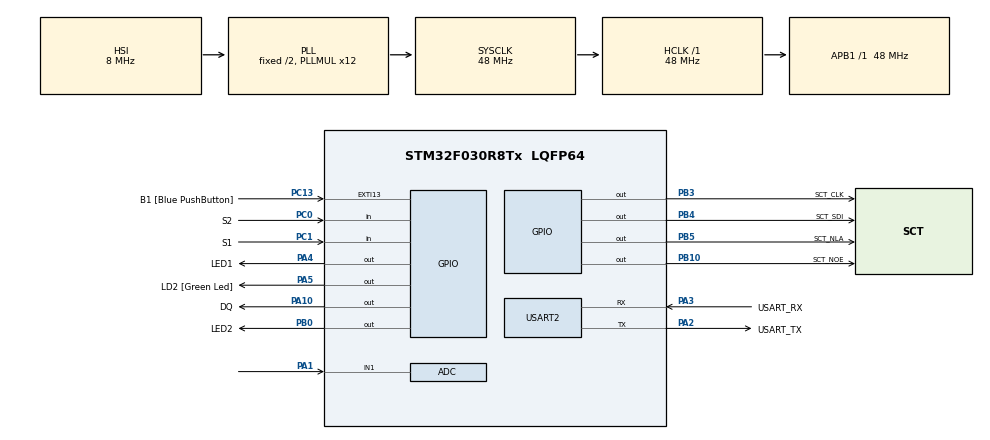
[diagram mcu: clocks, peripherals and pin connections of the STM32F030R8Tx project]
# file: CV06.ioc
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ADC.ContinuousConvMode=ENABLE
ADC.SamplingTime=ADC_SAMPLETIME_71CYCLES_5
Mcu.Family=STM32F0
Mcu.Name=STM32F030R8Tx
Mcu.Package=LQFP64
PA1.Mode=IN1
PA1.Signal=ADC_IN1
PA10.GPIO_Label=DQ
PA10.GPIO_ModeDefaultOutputPP=GPIO_MODE_OUTPUT_OD
PA10.GPIO_PuPd=GPIO_NOPULL
PA10.PinState=GPIO_PIN_SET
PA10.Signal=GPIO_Output
PA13.GPIO_Label=TMS
PA13.Mode=Serial_Wire
PA13.Signal=SYS_SWDIO
PA14.GPIO_Label=TCK
PA14.Mode=Serial_Wire
PA14.Signal=SYS_SWCLK
PA2.GPIO_Label=USART_TX
PA2.GPIO_Mode=GPIO_MODE_AF_PP
PA2.GPIO_PuPd=GPIO_NOPULL
PA2.GPIO_Speed=GPIO_SPEED_FREQ_LOW
PA2.Mode=Asynchronous
PA2.Signal=USART2_TX
PA3.GPIO_Label=USART_RX
PA3.GPIO_Mode=GPIO_MODE_AF_PP
PA3.GPIO_PuPd=GPIO_NOPULL
PA3.GPIO_Speed=GPIO_SPEED_FREQ_LOW
PA3.Mode=Asynchronous
PA3.Signal=USART2_RX
PA4.GPIO_Label=LED1
PA4.Signal=GPIO_Output
PA5.GPIO_Label=LD2 [Green Led]
PA5.GPIO_Mode=GPIO_MODE_OUTPUT_PP
PA5.GPIO_PuPd=GPIO_NOPULL
PA5.GPIO_Speed=GPIO_SPEED_FREQ_LOW
PA5.Signal=GPIO_Output
PB0.GPIO_Label=LED2
PB0.Signal=GPIO_Output
PB10.GPIO_Label=SCT_NOE
PB10.Signal=GPIO_Output
PB3.GPIO_Label=SCT_CLK
PB3.Signal=GPIO_Output
PB4.GPIO_Label=SCT_SDI
PB4.Signal=GPIO_Output
PB5.GPIO_Label=SCT_NLA
PB5.Signal=GPIO_Output
PC0.GPIO_Label=S2
PC0.GPIO_PuPd=GPIO_PULLUP
PC0.Signal=GPIO_Input
PC1.GPIO_Label=S1
PC1.GPIO_PuPd=GPIO_PULLUP
PC1.Signal=GPIO_Input
PC13.GPIO_Label=B1 [Blue PushButton]
PC13.GPIO_ModeDefaultEXTI=GPIO_MODE_IT_FALLING
PC13.Signal=GPXTI13
PC14-OSC32_IN.Mode=LSE-External-Oscillator
PC14-OSC32_IN.Signal=RCC_OSC32_IN
PC15-OSC32_OUT.Mode=LSE-External-Oscillator
PC15-OSC32_OUT.Signal=RCC_OSC32_OUT
PF0-OSC_IN.Mode=HSE-External-Clock-Source
PF0-OSC_IN.Signal=RCC_OSC_IN
PF1-OSC_OUT.Signal=RCC_OSC_OUT
ProjectManager.HeapSize=0x200
ProjectManager.StackSize=0x400
ProjectManager.TargetToolchain=STM32CubeIDE
RCC.AHBFreq_Value=48000000
RCC.APB1Freq_Value=48000000
RCC.APB1TimFreq_Value=48000000
RCC.HCLKFreq_Value=48000000
RCC.PLLMUL=RCC_PLL_MUL12
RCC.SYSCLKFreq_VALUE=48000000
RCC.SYSCLKSource=RCC_SYSCLKSOURCE_PLLCLK
USART2.VirtualMode-Asynchronous=VM_ASYNC
VP_TIM17_VS_ClockSourceINT.Mode=Enable_Timer
board=NUCLEO-F030R8

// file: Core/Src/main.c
/* USER CODE BEGIN Header */
/**
  ******************************************************************************
  * @file           : main.c
  * @brief          : Main program body
  ******************************************************************************
  * @attention
  *
  * Copyright (c) 2024 STMicroelectronics.
  * All rights reserved.
  *
  * This software is licensed under terms that can be found in the LICENSE file
  * in the root directory of this software component.
  * If no LICENSE file comes with this software, it is provided AS-IS.
  *
  ******************************************************************************
  */
/* USER CODE END Header */
#include "main.h"

/* USER CODE BEGIN Includes */
#include "1wire.h"
#include "sct.h"
#include "tempSensors.h"
/* USER CODE END Includes */

ADC_HandleTypeDef hadc;

TIM_HandleTypeDef htim17;

UART_HandleTypeDef huart2;

void SystemClock_Config(void);
static void MX_GPIO_Init(void);
static void MX_USART2_UART_Init(void);
static void MX_ADC_Init(void);
static void MX_TIM17_Init(void);

int main(void)
{

  /* MCU Configuration--------------------------------------------------------*/

  /* Reset of all peripherals, Initializes the Flash interface and the Systick. */
  HAL_Init();

  /* Configure the system clock */
  SystemClock_Config();

  /* Initialize all configured peripherals */
  MX_GPIO_Init();
  MX_USART2_UART_Init();
  MX_ADC_Init();
  MX_TIM17_Init();
  /* USER CODE BEGIN 2 */
  OWInit();
  sct_init();
  HAL_ADCEx_Calibration_Start(&hadc);
  HAL_ADC_Start(&hadc);
  /* USER CODE END 2 */

  /* Infinite loop */
  /* USER CODE BEGIN WHILE */
  while (1)
  {
	  static enum {DALLAS, NTC} state;

	  int16_t temperature;
	  processDallas();
	  processNTC();

	  if(!HAL_GPIO_ReadPin(S1_GPIO_Port, S1_Pin))
	  {
		  state = DALLAS;

	  }
	  else if(!HAL_GPIO_ReadPin(S2_GPIO_Port, S2_Pin))
	  {
		  state = NTC;
	  }

	  switch(state)
	  {
		case DALLAS:
			getDallasTemp(&temperature);
			HAL_GPIO_WritePin(LED2_GPIO_Port, LED2_Pin, GPIO_PIN_SET);
			HAL_GPIO_WritePin(LED1_GPIO_Port, LED1_Pin, GPIO_PIN_RESET);
			break;
		case NTC:
			getNTCTemp(&temperature);
			HAL_GPIO_WritePin(LED1_GPIO_Port, LED1_Pin, GPIO_PIN_SET);
			HAL_GPIO_WritePin(LED2_GPIO_Port, LED2_Pin, GPIO_PIN_RESET);
			break;

		}

	  sct_value(temperature, 0, 2);

    /* USER CODE END WHILE */

  }
}

void SystemClock_Config(void)
{
  RCC_OscInitTypeDef RCC_OscInitStruct = {0};
  RCC_ClkInitTypeDef RCC_ClkInitStruct = {0};

  /** Initializes the RCC Oscillators according to the specified parameters
  * in the RCC_OscInitTypeDef structure.
  */
  RCC_OscInitStruct.OscillatorType = RCC_OSCILLATORTYPE_HSI|RCC_OSCILLATORTYPE_HSI14;
  RCC_OscInitStruct.HSIState = RCC_HSI_ON;
  RCC_OscInitStruct.HSI14State = RCC_HSI14_ON;
  RCC_OscInitStruct.HSICalibrationValue = RCC_HSICALIBRATION_DEFAULT;
  RCC_OscInitStruct.HSI14CalibrationValue = 16;
  RCC_OscInitStruct.PLL.PLLState = RCC_PLL_ON;
  RCC_OscInitStruct.PLL.PLLSource = RCC_PLLSOURCE_HSI;
  RCC_OscInitStruct.PLL.PLLMUL = RCC_PLL_MUL12;
  RCC_OscInitStruct.PLL.PREDIV = RCC_PREDIV_DIV1;
  if (HAL_RCC_OscConfig(&RCC_OscInitStruct) != HAL_OK)
  {
    Error_Handler();
  }

  /** Initializes the CPU, AHB and APB buses clocks
  */
  RCC_ClkInitStruct.ClockType = RCC_CLOCKTYPE_HCLK|RCC_CLOCKTYPE_SYSCLK
                              |RCC_CLOCKTYPE_PCLK1;
  RCC_ClkInitStruct.SYSCLKSource = RCC_SYSCLKSOURCE_PLLCLK;
  RCC_ClkInitStruct.AHBCLKDivider = RCC_SYSCLK_DIV1;
  RCC_ClkInitStruct.APB1CLKDivider = RCC_HCLK_DIV1;

  if (HAL_RCC_ClockConfig(&RCC_ClkInitStruct, FLASH_LATENCY_1) != HAL_OK)
  {
    Error_Handler();
  }
}

static void MX_ADC_Init(void)
{

  ADC_ChannelConfTypeDef sConfig = {0};

  /** Configure the global features of the ADC (Clock, Resolution, Data Alignment and number of conversion)
  */
  hadc.Instance = ADC1;
  hadc.Init.ClockPrescaler = ADC_CLOCK_ASYNC_DIV1;
  hadc.Init.Resolution = ADC_RESOLUTION_12B;
  hadc.Init.DataAlign = ADC_DATAALIGN_RIGHT;
  hadc.Init.ScanConvMode = ADC_SCAN_DIRECTION_FORWARD;
  hadc.Init.EOCSelection = ADC_EOC_SINGLE_CONV;
  hadc.Init.LowPowerAutoWait = DISABLE;
  hadc.Init.LowPowerAutoPowerOff = DISABLE;
  hadc.Init.ContinuousConvMode = ENABLE;
  hadc.Init.DiscontinuousConvMode = DISABLE;
  hadc.Init.ExternalTrigConv = ADC_SOFTWARE_START;
  hadc.Init.ExternalTrigConvEdge = ADC_EXTERNALTRIGCONVEDGE_NONE;
  hadc.Init.DMAContinuousRequests = DISABLE;
  hadc.Init.Overrun = ADC_OVR_DATA_PRESERVED;
  if (HAL_ADC_Init(&hadc) != HAL_OK)
  {
    Error_Handler();
  }

  /** Configure for the selected ADC regular channel to be converted.
  */
  sConfig.Channel = ADC_CHANNEL_1;
  sConfig.Rank = ADC_RANK_CHANNEL_NUMBER;
  sConfig.SamplingTime = ADC_SAMPLETIME_71CYCLES_5;
  if (HAL_ADC_ConfigChannel(&hadc, &sConfig) != HAL_OK)
  {
    Error_Handler();
  }

}

static void MX_TIM17_Init(void)
{

  htim17.Instance = TIM17;
  htim17.Init.Prescaler = 0;
  htim17.Init.CounterMode = TIM_COUNTERMODE_UP;
  htim17.Init.Period = 65535;
  htim17.Init.ClockDivision = TIM_CLOCKDIVISION_DIV1;
  htim17.Init.RepetitionCounter = 0;
  htim17.Init.AutoReloadPreload = TIM_AUTORELOAD_PRELOAD_DISABLE;
  if (HAL_TIM_Base_Init(&htim17) != HAL_OK)
  {
    Error_Handler();
  }

}

static void MX_USART2_UART_Init(void)
{

  huart2.Instance = USART2;
  huart2.Init.BaudRate = 38400;
  huart2.Init.WordLength = UART_WORDLENGTH_8B;
  huart2.Init.StopBits = UART_STOPBITS_1;
  huart2.Init.Parity = UART_PARITY_NONE;
  huart2.Init.Mode = UART_MODE_TX_RX;
  huart2.Init.HwFlowCtl = UART_HWCONTROL_NONE;
  huart2.Init.OverSampling = UART_OVERSAMPLING_16;
  huart2.Init.OneBitSampling = UART_ONE_BIT_SAMPLE_DISABLE;
  huart2.AdvancedInit.AdvFeatureInit = UART_ADVFEATURE_NO_INIT;
  if (HAL_UART_Init(&huart2) != HAL_OK)
  {
    Error_Handler();
  }

}

static void MX_GPIO_Init(void)
{
  GPIO_InitTypeDef GPIO_InitStruct = {0};

  /* GPIO Ports Clock Enable */
  __HAL_RCC_GPIOC_CLK_ENABLE();
  __HAL_RCC_GPIOF_CLK_ENABLE();
  __HAL_RCC_GPIOA_CLK_ENABLE();
  __HAL_RCC_GPIOB_CLK_ENABLE();

  /*Configure GPIO pin Output Level */
  HAL_GPIO_WritePin(GPIOA, LED1_Pin|LD2_Pin, GPIO_PIN_RESET);

  /*Configure GPIO pin Output Level */
  HAL_GPIO_WritePin(GPIOB, LED2_Pin|SCT_NOE_Pin|SCT_CLK_Pin|SCT_SDI_Pin
                          |SCT_NLA_Pin, GPIO_PIN_RESET);

  /*Configure GPIO pin Output Level */
  HAL_GPIO_WritePin(DQ_GPIO_Port, DQ_Pin, GPIO_PIN_SET);

  /*Configure GPIO pin : B1_Pin */
  GPIO_InitStruct.Pin = B1_Pin;
  GPIO_InitStruct.Mode = GPIO_MODE_IT_FALLING;
  GPIO_InitStruct.Pull = GPIO_NOPULL;
  HAL_GPIO_Init(B1_GPIO_Port, &GPIO_InitStruct);

  /*Configure GPIO pins : S2_Pin S1_Pin */
  GPIO_InitStruct.Pin = S2_Pin|S1_Pin;
  GPIO_InitStruct.Mode = GPIO_MODE_INPUT;
  GPIO_InitStruct.Pull = GPIO_PULLUP;
  HAL_GPIO_Init(GPIOC, &GPIO_InitStruct);

  /*Configure GPIO pins : LED1_Pin LD2_Pin */
  GPIO_InitStruct.Pin = LED1_Pin|LD2_Pin;
  GPIO_InitStruct.Mode = GPIO_MODE_OUTPUT_PP;
  GPIO_InitStruct.Pull = GPIO_NOPULL;
  GPIO_InitStruct.Speed = GPIO_SPEED_FREQ_LOW;
  HAL_GPIO_Init(GPIOA, &GPIO_InitStruct);

  /*Configure GPIO pins : LED2_Pin SCT_NOE_Pin SCT_CLK_Pin SCT_SDI_Pin
                           SCT_NLA_Pin */
  GPIO_InitStruct.Pin = LED2_Pin|SCT_NOE_Pin|SCT_CLK_Pin|SCT_SDI_Pin
                          |SCT_NLA_Pin;
  GPIO_InitStruct.Mode = GPIO_MODE_OUTPUT_PP;
  GPIO_InitStruct.Pull = GPIO_NOPULL;
  GPIO_InitStruct.Speed = GPIO_SPEED_FREQ_LOW;
  HAL_GPIO_Init(GPIOB, &GPIO_InitStruct);

  /*Configure GPIO pin : DQ_Pin */
  GPIO_InitStruct.Pin = DQ_Pin;
  GPIO_InitStruct.Mode = GPIO_MODE_OUTPUT_OD;
  GPIO_InitStruct.Pull = GPIO_NOPULL;
  GPIO_InitStruct.Speed = GPIO_SPEED_FREQ_LOW;
  HAL_GPIO_Init(DQ_GPIO_Port, &GPIO_InitStruct);

}

void Error_Handler(void)
{
  __disable_irq();
  while (1)
  {
  }
}
